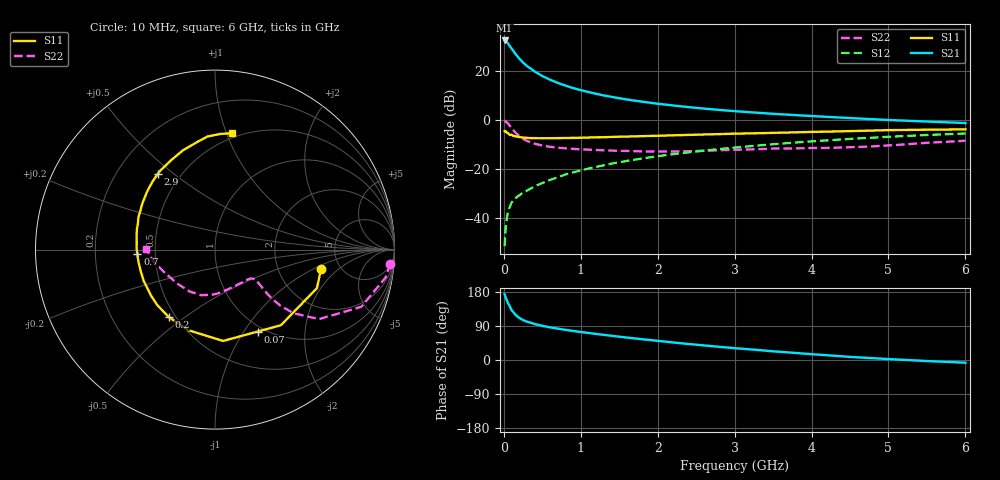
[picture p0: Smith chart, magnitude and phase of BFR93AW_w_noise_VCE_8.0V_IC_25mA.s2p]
! Infineon Technologies  Discrete & RF Semiconductors
! BFR93AW
! VCE =  8.0 V,  IC =  25 mA
! Common Emitter S-Parameters:  Jan 2017
# GHz  S  MA  R  50
!  f  S11  S21  S12  S22
! GHz  MAG  ANG  MAG  ANG  MAG  ANG  MAG  ANG
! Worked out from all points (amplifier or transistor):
!   77 points, 10 MHz to 6 GHz, reference 50 ohm
!   highest |S21| = 32.6 dB at 10 MHz (marker M1)
!   |S21| within 3 dB of that: start of sweep to 93.64 MHz
!   unconditionally stable (mu >= 1): 631.6 MHz to 2.036 GHz
!   at 130 MHz: K = 0.47, MSG = 30.3 dB, |S12| = -32.5 dB
!   at 2.2 GHz: K = 0.99, MSG = 9.9 dB, |S12| = -13.8 dB
!   at 6 GHz: K = 0.86, MSG = 2.1 dB, |S12| = -5.4 dB
!   lowest NFmin = 1.66 dB at 450 MHz
!   S11 on the Smith chart (normalised r, x): 10 MHz: 3.57, -1.20; 70 MHz: 0.93, -1.16; 200 MHz: 0.46, -0.44; 700 MHz: 0.40, -0.03; 2.9 GHz: 0.38, +0.44; 6 GHz: 0.46, +1.04
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0.01  0.6007 -10.3  42.74 173.3  0.0027 82.9  0.9808 -4.6
0.02  0.6072 -20.7  42.38 167.5  0.0053 85.6  0.9632 -9.3
0.05  0.5589 -48.9  37.95 151.0  0.0126 72.7  0.8759 -21.3
0.07  0.5149 -62.4  34.07 144.4  0.0158 67.2  0.8004 -25.6
0.1  0.511 -84.9  29.39 131.4  0.0208 62.2  0.6979 -33.7
0.15  0.473 -108.5  22.79 119.2  0.0256 58.9  0.5648 -39.0
0.2  0.4555 -124.4  18.27 111.2  0.0294 58.4  0.4787 -40.6
0.25  0.4463 -136.0  15.17 105.3  0.0334 59.0  0.4212 -40.8
0.3  0.439 -144.4  12.87 101.2  0.0366 61.0  0.3812 -40.2
0.4  0.4339 -156.3  9.919 94.8  0.0448 63.1  0.3335 -38.7
0.5  0.431 -164.7  8.023 90.1  0.0525 65.4  0.3058 -37.6
0.6  0.4317 -171.1  6.757 86.2  0.0606 66.5  0.2882 -37.0
0.7  0.4335 -176.5  5.823 82.9  0.0686 67.6  0.2768 -36.8
0.9  0.4376 175.1  4.563 76.7  0.0868 68.9  0.2619 -38.0
1.1  0.4461 167.9  3.782 71.4  0.1038 69.3  0.2522 -40.3
1.5  0.4632 156.9  2.827 61.6  0.1393 68.3  0.2384 -48.1
2.1  0.4894 142.5  2.096 48.5  0.1945 64.6  0.2312 -65.1
2.9  0.529 126.9  1.587 33.1  0.2683 58.4  0.2481 -90.2
3.1  0.5379 123.1  1.502 29.7  0.2868 56.5  0.2528 -95.9
4.1  0.5845 106.5  1.201 14.0  0.381 46.7  0.273 -124.7
5.1  0.6336 92.5  1.001 1.4  0.4692 35.8  0.3144 -158.3
6  0.6549 81.8  0.881 -7.1  0.5388 25.6  0.3836 179.8
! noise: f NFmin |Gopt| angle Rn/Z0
0.45  1.66  0.17  171  0.16
0.9  1.93  0.25  -177  0.16
1.9  2.93  0.49  -136  0.25
2.4  3.59  0.55  -125  0.5
